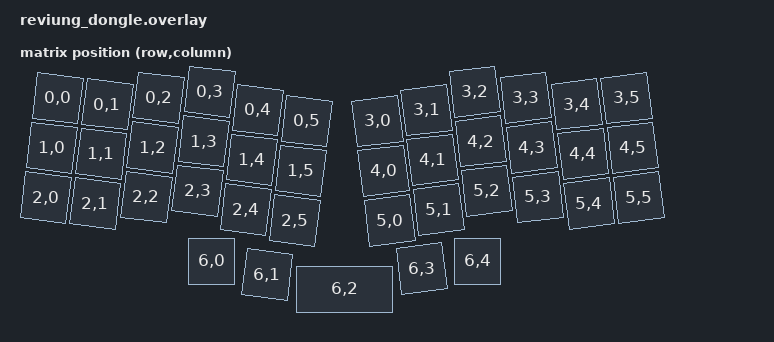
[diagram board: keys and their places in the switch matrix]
/ {
    chosen {
        zmk,kscan = &mock_kscan;
        zmk,physical-layout = &default_layout;
    };

    mock_kscan: mock_kscan_0 {
        compatible = "zmk,kscan-mock";
        columns = <0>;
        rows = <0>;
        events = <0>;
    };

    // Copy of matrix transform node here
    default_transform: keymap_transform_0 {
        compatible = "zmk,matrix-transform";
        columns = <6>;
        rows = <7>;

        map = <
RC(0,0) RC(0,1) RC(0,2) RC(0,3) RC(0,4) RC(0,5) RC(3,0) RC(3,1) RC(3,2) RC(3,3) RC(3,4) RC(3,5)
RC(1,0) RC(1,1) RC(1,2) RC(1,3) RC(1,4) RC(1,5) RC(4,0) RC(4,1) RC(4,2) RC(4,3) RC(4,4) RC(4,5)
RC(2,0) RC(2,1) RC(2,2) RC(2,3) RC(2,4) RC(2,5) RC(5,0) RC(5,1) RC(5,2) RC(5,3) RC(5,4) RC(5,5)
                        RC(6,0)    RC(6,1)  RC(6,2)  RC(6,3)    RC(6,4)
        >;
    };
    // Copy of physical layout node here
    default_layout: default_layout {
        compatible = "zmk,physical-layout";
        display-name = "reviung41";
        transform = <&default_transform>;
        keys
            = <&key_physical_attrs 100 100 000  53 700    400 338>
            , <&key_physical_attrs 100 100 100  53 700    400 338>
            , <&key_physical_attrs 100 100 200  28 700    400 338>
            , <&key_physical_attrs 100 100 300  03 700    400 338>
            , <&key_physical_attrs 100 100 400  28 700    400 338>
            , <&key_physical_attrs 100 100 500  38 700    400 338>
            , <&key_physical_attrs 100 100 700  38 (-700) 900 338>
            , <&key_physical_attrs 100 100 800  28 (-700) 900 338>
            , <&key_physical_attrs 100 100 900  03 (-700) 900 338>
            , <&key_physical_attrs 100 100 1000 28 (-700) 900 338>
            , <&key_physical_attrs 100 100 1100 53 (-700) 900 338>
            , <&key_physical_attrs 100 100 1200 53 (-700) 900 338>

            , <&key_physical_attrs 100 100 000  153 700    400 338>
            , <&key_physical_attrs 100 100 100  153 700    400 338>
            , <&key_physical_attrs 100 100 200  128 700    400 338>
            , <&key_physical_attrs 100 100 300  103 700    400 338>
            , <&key_physical_attrs 100 100 400  128 700    400 338>
            , <&key_physical_attrs 100 100 500  138 700    400 338>
            , <&key_physical_attrs 100 100 700  138 (-700) 900 338>
            , <&key_physical_attrs 100 100 800  128 (-700) 900 338>
            , <&key_physical_attrs 100 100 900  103 (-700) 900 338>
            , <&key_physical_attrs 100 100 1000 128 (-700) 900 338>
            , <&key_physical_attrs 100 100 1100 153 (-700) 900 338>
            , <&key_physical_attrs 100 100 1200 153 (-700) 900 338>

            , <&key_physical_attrs 100 100 000  253 700    400 338>
            , <&key_physical_attrs 100 100 100  253 700    400 338>
            , <&key_physical_attrs 100 100 200  228 700    400 338>
            , <&key_physical_attrs 100 100 300  203 700    400 338>
            , <&key_physical_attrs 100 100 400  228 700    400 338>
            , <&key_physical_attrs 100 100 500  238 700    400 338>
            , <&key_physical_attrs 100 100 700  238 (-700) 900 338>
            , <&key_physical_attrs 100 100 800  228 (-700) 900 338>
            , <&key_physical_attrs 100 100 900  203 (-700) 900 338>
            , <&key_physical_attrs 100 100 1000 228 (-700) 900 338>
            , <&key_physical_attrs 100 100 1100 253 (-700) 900 338>
            , <&key_physical_attrs 100 100 1200 253 (-700) 900 338>

            , <&key_physical_attrs 100 100 339 338 0 0 0>
            , <&key_physical_attrs 100 100 450 365 700 500 415>
            , <&key_physical_attrs 200 100 555 394 0 0 0>
            , <&key_physical_attrs 100 100 760 365 (-700) 710 415>
            , <&key_physical_attrs 100 100 871 338 0 0 0>
            ;
    };
    //     If kscan property of physical layout is present, assign &mock_kscan to it
};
